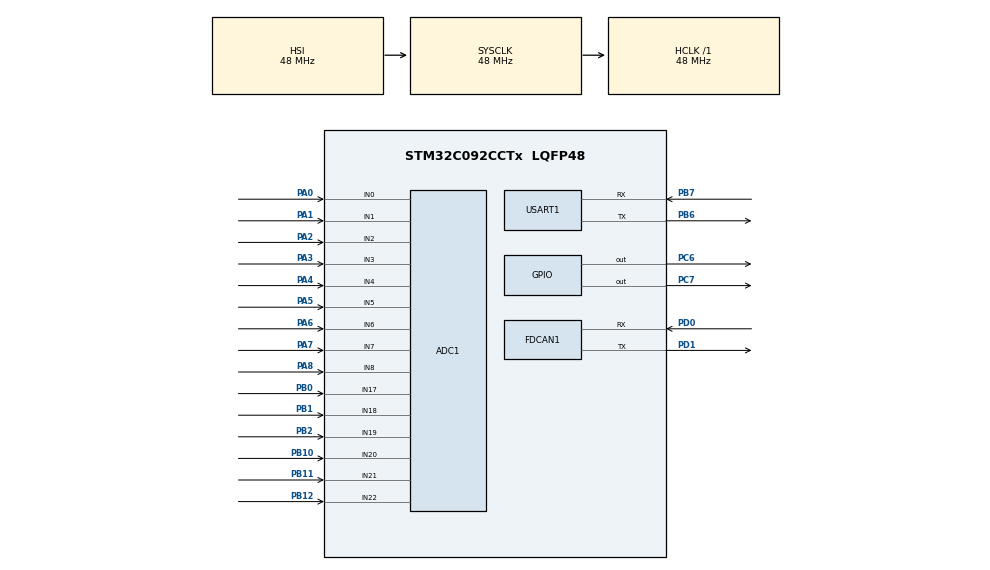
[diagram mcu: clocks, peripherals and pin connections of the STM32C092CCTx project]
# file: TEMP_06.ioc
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ADC1.ContinuousConvMode=ENABLE
ADC1.DMAContinuousRequests=ENABLE
ADC1.NbrOfConversionFlag=0
ADC1.Overrun=ADC_OVR_DATA_OVERWRITTEN
ADC1.SelectedChannel=ADC_CHANNEL_0|ADC_CHANNEL_1|ADC_CHANNEL_2|ADC_CHANNEL_3|ADC_CHANNEL_4|ADC_CHANNEL_5|ADC_CHANNEL_6|ADC_CHANNEL_7|ADC_CHANNEL_8|ADC_CHANNEL_17|ADC_CHANNEL_18|ADC_CHANNEL_19|ADC_CHANNEL_20|ADC_CHANNEL_21|ADC_CHANNEL_22
ADC1.master=1
Dma.ADC1.0.Direction=DMA_PERIPH_TO_MEMORY
Dma.ADC1.0.EventEnable=DISABLE
Dma.ADC1.0.Instance=DMA1_Channel1
Dma.ADC1.0.MemDataAlignment=DMA_MDATAALIGN_HALFWORD
Dma.ADC1.0.MemInc=DMA_MINC_ENABLE
Dma.ADC1.0.Mode=DMA_CIRCULAR
Dma.ADC1.0.PeriphDataAlignment=DMA_PDATAALIGN_HALFWORD
Dma.ADC1.0.PeriphInc=DMA_PINC_DISABLE
Dma.ADC1.0.Polarity=HAL_DMAMUX_REQ_GEN_RISING
Dma.ADC1.0.Priority=DMA_PRIORITY_LOW
Dma.ADC1.0.RequestNumber=1
Dma.ADC1.0.SignalID=NONE
Dma.ADC1.0.SyncEnable=DISABLE
Dma.ADC1.0.SyncPolarity=HAL_DMAMUX_SYNC_NO_EVENT
Dma.ADC1.0.SyncRequestNumber=1
Dma.ADC1.0.SyncSignalID=NONE
Dma.Request0=ADC1
FDCAN1.AutoRetransmission=ENABLE
FDCAN1.CalculateBaudRateNominal=500000
FDCAN1.CalculateTimeBitNominal=2000
FDCAN1.CalculateTimeQuantumNominal=125.0
FDCAN1.NominalPrescaler=6
FDCAN1.NominalTimeSeg1=12
FDCAN1.NominalTimeSeg2=3
Mcu.Family=STM32C0
Mcu.Name=STM32C092CCTx
Mcu.Package=LQFP48
NVIC.DMA1_Channel1_IRQn=true\:0\:0\:false\:false\:true\:false\:true\:true
NVIC.TIM2_IRQn=true\:0\:0\:false\:false\:true\:true\:true\:true
NVIC.TIM3_IRQn=true\:0\:0\:false\:false\:true\:true\:true\:true
PA0.Mode=IN0
PA0.Signal=ADC1_IN0
PA1.Mode=IN1
PA1.Signal=ADC1_IN1
PA13.Mode=Serial_Wire
PA13.Signal=DEBUG_SWDIO
PA14-BOOT0.Mode=Serial_Wire
PA14-BOOT0.Signal=DEBUG_SWCLK
PA2.Mode=IN2
PA2.Signal=ADC1_IN2
PA3.Mode=IN3
PA3.Signal=ADC1_IN3
PA4.Mode=IN4
PA4.Signal=ADC1_IN4
PA5.Mode=IN5
PA5.Signal=ADC1_IN5
PA6.Mode=IN6
PA6.Signal=ADC1_IN6
PA7.Mode=IN7
PA7.Signal=ADC1_IN7
PA8.Mode=IN8
PA8.Signal=ADC1_IN8
PB0.Mode=IN17
PB0.Signal=ADC1_IN17
PB1.Mode=IN18
PB1.Signal=ADC1_IN18
PB10.Mode=IN20
PB10.Signal=ADC1_IN20
PB11.Mode=IN21
PB11.Signal=ADC1_IN21
PB12.Mode=IN22
PB12.Signal=ADC1_IN22
PB2.Mode=IN19
PB2.Signal=ADC1_IN19
PB6.Mode=Asynchronous
PB6.Signal=USART1_TX
PB7.Mode=Asynchronous
PB7.Signal=USART1_RX
PC6.Signal=GPIO_Output
PC7.Signal=GPIO_Output
PD0.Mode=FDCAN_Activate
PD0.Signal=FDCAN1_RX
PD1.Mode=FDCAN_Activate
PD1.Signal=FDCAN1_TX
PF0-OSC_IN(PF0).Mode=HSE-External-Oscillator
PF0-OSC_IN(PF0).Signal=RCC_OSC_IN
PF1-OSC_OUT(PF1).Mode=HSE-External-Oscillator
PF1-OSC_OUT(PF1).Signal=RCC_OSC_OUT
ProjectManager.HeapSize=0x200
ProjectManager.StackSize=0x400
ProjectManager.TargetToolchain=STM32CubeIDE
RCC.ADCFreq_Value=48000000
RCC.AHBFreq_Value=48000000
RCC.CortexFreq_Value=48000000
RCC.EXTERNAL_CLOCK_VALUE=12288000
RCC.HCLKFreq_Value=48000000
RCC.HSE_VALUE=8000000
RCC.HSISYSCLKDivider=RCC_HSI_DIV1
RCC.HSI_VALUE=48000000
RCC.LSE_VALUE=32768
RCC.SYSCLKFreq_VALUE=48000000
USART1.VirtualMode-Asynchronous=VM_ASYNC
VP_TIM2_VS_ClockSourceITR.Mode=TriggerSource_ITR0
VP_TIM2_VS_ControllerModeClock.Mode=Clock Mode
VP_TIM3_VS_ClockSourceITR.Mode=TriggerSource_ITR0
VP_TIM3_VS_ControllerModeClock.Mode=Clock Mode
board=custom

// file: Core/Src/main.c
/* USER CODE BEGIN Header */
/**
  ******************************************************************************
  * @file           : main.c
  * @brief          : Main program body
  ******************************************************************************
  * @attention
  *
  * Copyright (c) 2025 STMicroelectronics.
  * All rights reserved.
  *
  * This software is licensed under terms that can be found in the LICENSE file
  * in the root directory of this software component.
  * If no LICENSE file comes with this software, it is provided AS-IS.
  *
  ******************************************************************************
  */
/* USER CODE END Header */
#include "main.h"

/* USER CODE BEGIN Includes */
extern TIM_HandleTypeDef htim2;
extern TIM_HandleTypeDef htim3;

// Global Fault Flag (declared in main.c)
extern volatile uint8_t fault_detected;
// Global Fault Flag (for future interrupt-based fault detection)
volatile uint8_t fault_detected = 0;
/* USER CODE END Includes */

ADC_HandleTypeDef hadc1;
DMA_HandleTypeDef hdma_adc1;

FDCAN_HandleTypeDef hfdcan1;

TIM_HandleTypeDef htim2;
TIM_HandleTypeDef htim3;

UART_HandleTypeDef huart1;

void SystemClock_Config(void);
static void MX_GPIO_Init(void);
static void MX_DMA_Init(void);
static void MX_ADC1_Init(void);
static void MX_FDCAN1_Init(void);
static void MX_TIM2_Init(void);
static void MX_TIM3_Init(void);
static void MX_USART1_UART_Init(void);

int main(void)
{

  /* MCU Configuration--------------------------------------------------------*/

  /* Reset of all peripherals, Initializes the Flash interface and the Systick. */
  HAL_Init();

  /* Configure the system clock */
  SystemClock_Config();

  /* Initialize all configured peripherals */
  MX_GPIO_Init();
  MX_DMA_Init();
  MX_ADC1_Init();
  MX_FDCAN1_Init();
  MX_TIM2_Init();
  MX_TIM3_Init();
  MX_USART1_UART_Init();
  /* USER CODE BEGIN 2 */
  // Start ADC DMA Conversions
      ADC_Init();

      // Start Timers for Periodic CAN TX and Fault Checking
      HAL_TIM_Base_Start_IT(&htim2);
      HAL_TIM_Base_Start_IT(&htim3);

      Debug_Print("System Initialized. Starting Main Loop.\r\n");
  /* USER CODE END 2 */

  /* Infinite loop */
  while (1)
  {
	  // Check for faults (can be expanded later with interrupt-driven actions)
	         if (fault_detected) {
	             Debug_Print("Fault Detected! Check Thermistor Readings.\r\n");
	             fault_detected = 0; // Reset flag (can be expanded to take action)
	         }
	         // Add low-priority tasks here if needed
	     }
  }
}

void SystemClock_Config(void)
{
  RCC_OscInitTypeDef RCC_OscInitStruct = {0};
  RCC_ClkInitTypeDef RCC_ClkInitStruct = {0};

  __HAL_FLASH_SET_LATENCY(FLASH_LATENCY_1);

  /** Initializes the RCC Oscillators according to the specified parameters
  * in the RCC_OscInitTypeDef structure.
  */
  RCC_OscInitStruct.OscillatorType = RCC_OSCILLATORTYPE_HSI;
  RCC_OscInitStruct.HSIState = RCC_HSI_ON;
  RCC_OscInitStruct.HSIDiv = RCC_HSI_DIV1;
  RCC_OscInitStruct.HSICalibrationValue = RCC_HSICALIBRATION_DEFAULT;
  if (HAL_RCC_OscConfig(&RCC_OscInitStruct) != HAL_OK)
  {
    Error_Handler();
  }

  /** Initializes the CPU, AHB and APB buses clocks
  */
  RCC_ClkInitStruct.ClockType = RCC_CLOCKTYPE_HCLK|RCC_CLOCKTYPE_SYSCLK
                              |RCC_CLOCKTYPE_PCLK1;
  RCC_ClkInitStruct.SYSCLKSource = RCC_SYSCLKSOURCE_HSI;
  RCC_ClkInitStruct.SYSCLKDivider = RCC_SYSCLK_DIV1;
  RCC_ClkInitStruct.AHBCLKDivider = RCC_HCLK_DIV1;
  RCC_ClkInitStruct.APB1CLKDivider = RCC_APB1_DIV1;

  if (HAL_RCC_ClockConfig(&RCC_ClkInitStruct, FLASH_LATENCY_1) != HAL_OK)
  {
    Error_Handler();
  }
}

static void MX_ADC1_Init(void)
{

  ADC_ChannelConfTypeDef sConfig = {0};

  /** Configure the global features of the ADC (Clock, Resolution, Data Alignment and number of conversion)
  */
  hadc1.Instance = ADC1;
  hadc1.Init.ClockPrescaler = ADC_CLOCK_SYNC_PCLK_DIV2;
  hadc1.Init.Resolution = ADC_RESOLUTION_12B;
  hadc1.Init.DataAlign = ADC_DATAALIGN_RIGHT;
  hadc1.Init.ScanConvMode = ADC_SCAN_SEQ_FIXED;
  hadc1.Init.EOCSelection = ADC_EOC_SINGLE_CONV;
  hadc1.Init.LowPowerAutoWait = DISABLE;
  hadc1.Init.LowPowerAutoPowerOff = DISABLE;
  hadc1.Init.ContinuousConvMode = ENABLE;
  hadc1.Init.NbrOfConversion = 1;
  hadc1.Init.ExternalTrigConv = ADC_SOFTWARE_START;
  hadc1.Init.ExternalTrigConvEdge = ADC_EXTERNALTRIGCONVEDGE_NONE;
  hadc1.Init.DMAContinuousRequests = ENABLE;
  hadc1.Init.Overrun = ADC_OVR_DATA_OVERWRITTEN;
  hadc1.Init.SamplingTimeCommon1 = ADC_SAMPLETIME_1CYCLE_5;
  hadc1.Init.OversamplingMode = DISABLE;
  hadc1.Init.TriggerFrequencyMode = ADC_TRIGGER_FREQ_HIGH;
  if (HAL_ADC_Init(&hadc1) != HAL_OK)
  {
    Error_Handler();
  }

  /** Configure Regular Channel
  */
  sConfig.Channel = ADC_CHANNEL_0;
  sConfig.Rank = ADC_RANK_CHANNEL_NUMBER;
  if (HAL_ADC_ConfigChannel(&hadc1, &sConfig) != HAL_OK)
  {
    Error_Handler();
  }

  /** Configure Regular Channel
  */
  sConfig.Channel = ADC_CHANNEL_1;
  if (HAL_ADC_ConfigChannel(&hadc1, &sConfig) != HAL_OK)
  {
    Error_Handler();
  }

  /** Configure Regular Channel
  */
  sConfig.Channel = ADC_CHANNEL_2;
  if (HAL_ADC_ConfigChannel(&hadc1, &sConfig) != HAL_OK)
  {
    Error_Handler();
  }

  /** Configure Regular Channel
  */
  sConfig.Channel = ADC_CHANNEL_3;
  if (HAL_ADC_ConfigChannel(&hadc1, &sConfig) != HAL_OK)
  {
    Error_Handler();
  }

  /** Configure Regular Channel
  */
  sConfig.Channel = ADC_CHANNEL_4;
  if (HAL_ADC_ConfigChannel(&hadc1, &sConfig) != HAL_OK)
  {
    Error_Handler();
  }

  /** Configure Regular Channel
  */
  sConfig.Channel = ADC_CHANNEL_5;
  if (HAL_ADC_ConfigChannel(&hadc1, &sConfig) != HAL_OK)
  {
    Error_Handler();
  }

  /** Configure Regular Channel
  */
  sConfig.Channel = ADC_CHANNEL_6;
  if (HAL_ADC_ConfigChannel(&hadc1, &sConfig) != HAL_OK)
  {
    Error_Handler();
  }

  /** Configure Regular Channel
  */
  sConfig.Channel = ADC_CHANNEL_7;
  if (HAL_ADC_ConfigChannel(&hadc1, &sConfig) != HAL_OK)
  {
    Error_Handler();
  }

  /** Configure Regular Channel
  */
  sConfig.Channel = ADC_CHANNEL_8;
  if (HAL_ADC_ConfigChannel(&hadc1, &sConfig) != HAL_OK)
  {
    Error_Handler();
  }

  /** Configure Regular Channel
  */
  sConfig.Channel = ADC_CHANNEL_17;
  if (HAL_ADC_ConfigChannel(&hadc1, &sConfig) != HAL_OK)
  {
    Error_Handler();
  }

  /** Configure Regular Channel
  */
  sConfig.Channel = ADC_CHANNEL_18;
  if (HAL_ADC_ConfigChannel(&hadc1, &sConfig) != HAL_OK)
  {
    Error_Handler();
  }

  /** Configure Regular Channel
  */
  sConfig.Channel = ADC_CHANNEL_19;
  if (HAL_ADC_ConfigChannel(&hadc1, &sConfig) != HAL_OK)
  {
    Error_Handler();
  }

  /** Configure Regular Channel
  */
  sConfig.Channel = ADC_CHANNEL_20;
  if (HAL_ADC_ConfigChannel(&hadc1, &sConfig) != HAL_OK)
  {
    Error_Handler();
  }

  /** Configure Regular Channel
  */
  sConfig.Channel = ADC_CHANNEL_21;
  if (HAL_ADC_ConfigChannel(&hadc1, &sConfig) != HAL_OK)
  {
    Error_Handler();
  }

  /** Configure Regular Channel
  */
  sConfig.Channel = ADC_CHANNEL_22;
  if (HAL_ADC_ConfigChannel(&hadc1, &sConfig) != HAL_OK)
  {
    Error_Handler();
  }

}

static void MX_FDCAN1_Init(void)
{

  hfdcan1.Instance = FDCAN1;
  hfdcan1.Init.ClockDivider = FDCAN_CLOCK_DIV1;
  hfdcan1.Init.FrameFormat = FDCAN_FRAME_CLASSIC;
  hfdcan1.Init.Mode = FDCAN_MODE_NORMAL;
  hfdcan1.Init.AutoRetransmission = ENABLE;
  hfdcan1.Init.TransmitPause = DISABLE;
  hfdcan1.Init.ProtocolException = DISABLE;
  hfdcan1.Init.NominalPrescaler = 6;
  hfdcan1.Init.NominalSyncJumpWidth = 1;
  hfdcan1.Init.NominalTimeSeg1 = 12;
  hfdcan1.Init.NominalTimeSeg2 = 3;
  hfdcan1.Init.DataPrescaler = 1;
  hfdcan1.Init.DataSyncJumpWidth = 1;
  hfdcan1.Init.DataTimeSeg1 = 1;
  hfdcan1.Init.DataTimeSeg2 = 1;
  hfdcan1.Init.StdFiltersNbr = 0;
  hfdcan1.Init.ExtFiltersNbr = 0;
  hfdcan1.Init.TxFifoQueueMode = FDCAN_TX_FIFO_OPERATION;
  if (HAL_FDCAN_Init(&hfdcan1) != HAL_OK)
  {
    Error_Handler();
  }

}

static void MX_TIM2_Init(void)
{

  TIM_SlaveConfigTypeDef sSlaveConfig = {0};
  TIM_MasterConfigTypeDef sMasterConfig = {0};

  htim2.Instance = TIM2;
  htim2.Init.Prescaler = 0;
  htim2.Init.CounterMode = TIM_COUNTERMODE_UP;
  htim2.Init.Period = 4294967295;
  htim2.Init.ClockDivision = TIM_CLOCKDIVISION_DIV1;
  htim2.Init.AutoReloadPreload = TIM_AUTORELOAD_PRELOAD_DISABLE;
  if (HAL_TIM_Base_Init(&htim2) != HAL_OK)
  {
    Error_Handler();
  }
  sSlaveConfig.SlaveMode = TIM_SLAVEMODE_EXTERNAL1;
  sSlaveConfig.InputTrigger = TIM_TS_ITR0;
  if (HAL_TIM_SlaveConfigSynchro(&htim2, &sSlaveConfig) != HAL_OK)
  {
    Error_Handler();
  }
  sMasterConfig.MasterOutputTrigger = TIM_TRGO_RESET;
  sMasterConfig.MasterSlaveMode = TIM_MASTERSLAVEMODE_DISABLE;
  if (HAL_TIMEx_MasterConfigSynchronization(&htim2, &sMasterConfig) != HAL_OK)
  {
    Error_Handler();
  }

}

static void MX_TIM3_Init(void)
{

  TIM_SlaveConfigTypeDef sSlaveConfig = {0};
  TIM_MasterConfigTypeDef sMasterConfig = {0};

  htim3.Instance = TIM3;
  htim3.Init.Prescaler = 0;
  htim3.Init.CounterMode = TIM_COUNTERMODE_UP;
  htim3.Init.Period = 65535;
  htim3.Init.ClockDivision = TIM_CLOCKDIVISION_DIV1;
  htim3.Init.AutoReloadPreload = TIM_AUTORELOAD_PRELOAD_DISABLE;
  if (HAL_TIM_Base_Init(&htim3) != HAL_OK)
  {
    Error_Handler();
  }
  sSlaveConfig.SlaveMode = TIM_SLAVEMODE_EXTERNAL1;
  sSlaveConfig.InputTrigger = TIM_TS_ITR0;
  if (HAL_TIM_SlaveConfigSynchro(&htim3, &sSlaveConfig) != HAL_OK)
  {
    Error_Handler();
  }
  sMasterConfig.MasterOutputTrigger = TIM_TRGO_RESET;
  sMasterConfig.MasterSlaveMode = TIM_MASTERSLAVEMODE_DISABLE;
  if (HAL_TIMEx_MasterConfigSynchronization(&htim3, &sMasterConfig) != HAL_OK)
  {
    Error_Handler();
  }

}

static void MX_USART1_UART_Init(void)
{

  huart1.Instance = USART1;
  huart1.Init.BaudRate = 115200;
  huart1.Init.WordLength = UART_WORDLENGTH_8B;
  huart1.Init.StopBits = UART_STOPBITS_1;
  huart1.Init.Parity = UART_PARITY_NONE;
  huart1.Init.Mode = UART_MODE_TX_RX;
  huart1.Init.HwFlowCtl = UART_HWCONTROL_NONE;
  huart1.Init.OverSampling = UART_OVERSAMPLING_16;
  huart1.Init.OneBitSampling = UART_ONE_BIT_SAMPLE_DISABLE;
  huart1.Init.ClockPrescaler = UART_PRESCALER_DIV1;
  huart1.AdvancedInit.AdvFeatureInit = UART_ADVFEATURE_NO_INIT;
  if (HAL_UART_Init(&huart1) != HAL_OK)
  {
    Error_Handler();
  }
  if (HAL_UARTEx_SetTxFifoThreshold(&huart1, UART_TXFIFO_THRESHOLD_1_8) != HAL_OK)
  {
    Error_Handler();
  }
  if (HAL_UARTEx_SetRxFifoThreshold(&huart1, UART_RXFIFO_THRESHOLD_1_8) != HAL_OK)
  {
    Error_Handler();
  }
  if (HAL_UARTEx_DisableFifoMode(&huart1) != HAL_OK)
  {
    Error_Handler();
  }

}

static void MX_DMA_Init(void)
{

  /* DMA controller clock enable */
  __HAL_RCC_DMA1_CLK_ENABLE();

  /* DMA interrupt init */
  /* DMA1_Channel1_IRQn interrupt configuration */
  HAL_NVIC_SetPriority(DMA1_Channel1_IRQn, 0, 0);
  HAL_NVIC_EnableIRQ(DMA1_Channel1_IRQn);

}

static void MX_GPIO_Init(void)
{
  GPIO_InitTypeDef GPIO_InitStruct = {0};

  /* GPIO Ports Clock Enable */
  __HAL_RCC_GPIOF_CLK_ENABLE();
  __HAL_RCC_GPIOA_CLK_ENABLE();
  __HAL_RCC_GPIOB_CLK_ENABLE();
  __HAL_RCC_GPIOC_CLK_ENABLE();
  __HAL_RCC_GPIOD_CLK_ENABLE();

  /*Configure GPIO pin Output Level */
  HAL_GPIO_WritePin(GPIOC, GPIO_PIN_6|GPIO_PIN_7, GPIO_PIN_RESET);

  /*Configure GPIO pins : PC6 PC7 */
  GPIO_InitStruct.Pin = GPIO_PIN_6|GPIO_PIN_7;
  GPIO_InitStruct.Mode = GPIO_MODE_OUTPUT_PP;
  GPIO_InitStruct.Pull = GPIO_NOPULL;
  GPIO_InitStruct.Speed = GPIO_SPEED_FREQ_LOW;
  HAL_GPIO_Init(GPIOC, &GPIO_InitStruct);

}

/* USER CODE BEGIN 4 */

void TIM2_IRQHandler(void) {
    HAL_TIM_IRQHandler(&htim2);
}

void TIM3_IRQHandler(void) {
    HAL_TIM_IRQHandler(&htim3);
}

void HAL_TIM_PeriodElapsedCallback(TIM_HandleTypeDef *htim) {
    if (htim->Instance == TIM2) {
        // Process ADC data and send CAN message every 100 ms
        ADC_Process();
        CAN_Send_Temperature_Data();
        HAL_GPIO_TogglePin(DEBUG_LED_PORT, DEBUG_LED_PIN); // Heartbeat
    } else if (htim->Instance == TIM3) {
        // Periodically check for faults (every 500 ms)
        ADC_Data* data = ADC_GetData();
        for (uint32_t i = 0; i < NUM_THERMISTORS; i++) {
            if (data->fault_flags[i]) {
                fault_detected = 1; // Set global fault flag
                break;
            }
        }
    }
}
/* USER CODE END 4 */

void Error_Handler(void)
{
  __disable_irq();
  while (1)
  {
  }
}
